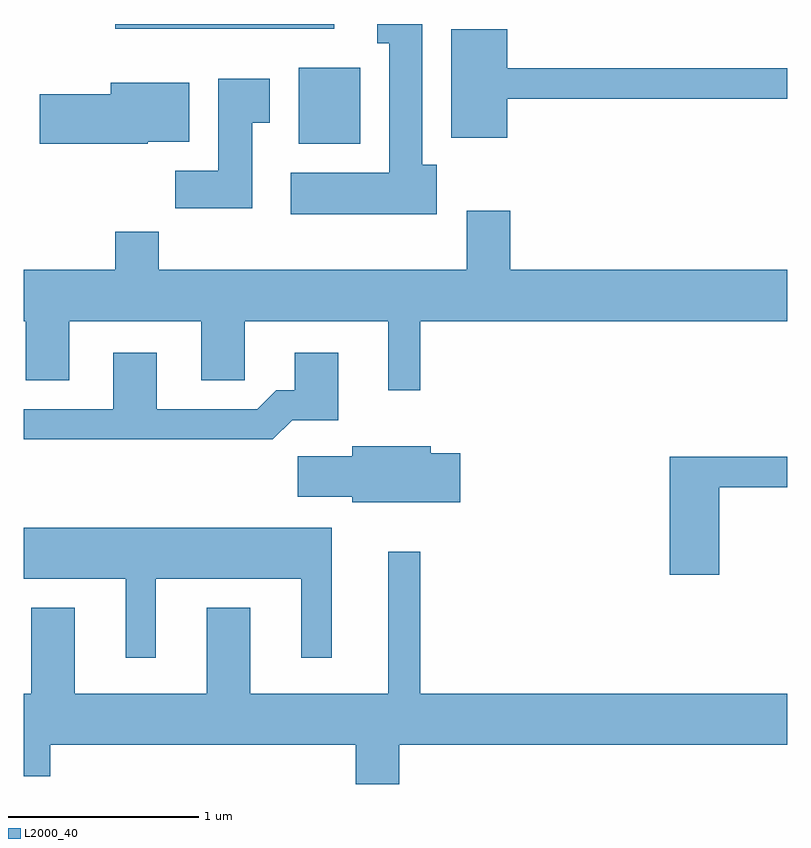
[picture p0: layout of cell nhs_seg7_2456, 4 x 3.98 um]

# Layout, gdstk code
import gdstk
lib = gdstk.Library(unit=1e-6, precision=1e-09)
def R(c, l, rs):  # rectangles x0, y0, x1, y1
    for r in rs: c.add(gdstk.rectangle(r[:2], r[2:], *l))
def P(c, l, *ps):  # polygons
    for p in ps: c.add(gdstk.Polygon(p, *l))
L2000_40 = (2000, 40)

nhs_seg7_2456 = lib.new_cell('nhs_seg7_2456')
R(nhs_seg7_2456, L2000_40, [(261.051,1779.626,261.374,1780.024), (260.091,1780.226,261.239,1780.252)])
P(nhs_seg7_2456, L2000_40, [(261.774,1779.514),(261.699,1779.514),(261.699,1780.252),(261.462,1780.252),(261.462,1780.151),(261.526,1780.151),(261.526,1779.474),(261.011,1779.474),(261.011,1779.256),(261.774,1779.256)],
  [(262.144,1779.861),(263.611,1779.861),(263.611,1780.019),(262.144,1780.019),(262.144,1780.224),(261.851,1780.224),(261.851,1779.656),(262.144,1779.656)],
  [(260.809,1779.736),(260.899,1779.736),(260.899,1779.964),(260.631,1779.964),(260.631,1779.484),(260.406,1779.484),(260.406,1779.286),(260.809,1779.286)],
  [(260.26,1779.636),(260.479,1779.636),(260.479,1779.944),(260.066,1779.944),(260.066,1779.884),(259.696,1779.884),(259.696,1779.626),(260.26,1779.626)],
  [(261.689,1778.696),(263.611,1778.696),(263.611,1778.964),(262.159,1778.964),(262.159,1779.274),(261.931,1779.274),(261.931,1778.964),(260.319,1778.964),(260.319,1779.164),(260.091,1779.164),(260.091,1778.964),(259.611,1778.964),(259.611,1778.696),(259.621,1778.696),(259.621,1778.386),(259.849,1778.386),(259.849,1778.696),(260.541,1778.696),(260.541,1778.386),(260.769,1778.386),(260.769,1778.696),(261.521,1778.696),(261.521,1778.333),(261.689,1778.333)],
  [(261.017,1778.176),(261.259,1778.176),(261.259,1778.529),(261.031,1778.529),(261.031,1778.334),(260.933,1778.334),(260.834,1778.234),(260.309,1778.234),(260.309,1778.529),(260.081,1778.529),(260.081,1778.234),(259.611,1778.234),(259.611,1778.076),(260.916,1778.076)],
  [(261.899,1778.004),(261.744,1778.004),(261.744,1778.039),(261.331,1778.039),(261.331,1777.989),(261.046,1777.989),(261.046,1777.776),(261.331,1777.776),(261.331,1777.746),(261.899,1777.746)],
  [(263.254,1777.826),(263.611,1777.826),(263.611,1777.984),(262.996,1777.984),(262.996,1777.366),(263.254,1777.366)],
  [(260.304,1777.346),(261.066,1777.346),(261.066,1776.933),(261.224,1776.933),(261.224,1777.614),(259.611,1777.614),(259.611,1777.346),(260.146,1777.346),(260.146,1776.933),(260.304,1776.933)],
  [(261.579,1776.476),(263.611,1776.476),(263.611,1776.744),(261.689,1776.744),(261.689,1777.488),(261.521,1777.488),(261.521,1776.744),(260.799,1776.744),(260.799,1777.194),(260.571,1777.194),(260.571,1776.744),(259.879,1776.744),(259.879,1777.194),(259.651,1777.194),(259.651,1776.744),(259.611,1776.744),(259.611,1776.311),(259.749,1776.311),(259.749,1776.476),(261.351,1776.476),(261.351,1776.271),(261.579,1776.271)])

lib.write_gds('nhs_seg7_2456.gds')
